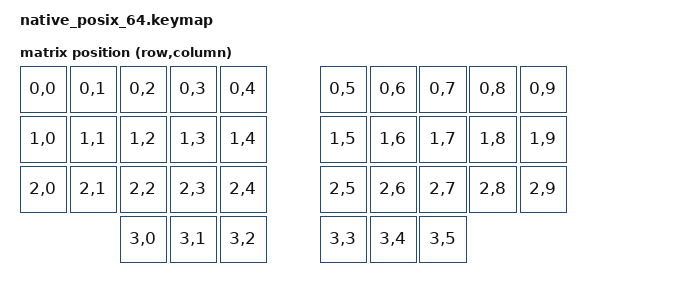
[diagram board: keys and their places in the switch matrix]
#include <dt-bindings/zmk/matrix_transform.h>
#include <dt-bindings/zmk/kscan_mock.h>

/ {
    chosen {
        zmk,matrix-transform = &transform;
    };

    /* op36 position N is RC(N/10, N%10); thumbs 30..35 are row 3. */
    transform: keymap_transform {
        compatible = "zmk,matrix-transform";
        columns = <10>;
        rows = <4>;
        map = <
            RC(0,0) RC(0,1) RC(0,2) RC(0,3) RC(0,4) RC(0,5) RC(0,6) RC(0,7) RC(0,8) RC(0,9)
            RC(1,0) RC(1,1) RC(1,2) RC(1,3) RC(1,4) RC(1,5) RC(1,6) RC(1,7) RC(1,8) RC(1,9)
            RC(2,0) RC(2,1) RC(2,2) RC(2,3) RC(2,4) RC(2,5) RC(2,6) RC(2,7) RC(2,8) RC(2,9)
            RC(3,0) RC(3,1) RC(3,2) RC(3,3) RC(3,4) RC(3,5)
        >;
    };
};&kscan {
    rows = <4>;
    columns = <10>;
    events = <
        /* lead-in so require-prior-idle-ms sees real idle time */
        ZMK_MOCK_PRESS(0,1,10)
        ZMK_MOCK_RELEASE(0,1,400)

        /* cmbru, a tap on thumbs 31+34, leaves en for ru */
        ZMK_MOCK_PRESS(3,1,5)
        ZMK_MOCK_PRESS(3,4,20)
        ZMK_MOCK_RELEASE(3,1,10)
        ZMK_MOCK_RELEASE(3,4,300)

        /* Right Cmd (pos 16) with pos 4. Pos 4 is on the LEFT half, so the
           opposite-hand rule wants the right modifier. It must resolve on en
           and send 0x05 (B) — the whole point — not 0x17 (T, which is where
           ЙЦУКЕН puts е). */
        ZMK_MOCK_PRESS(1,6,350)
        ZMK_MOCK_PRESS(0,4,30)
        ZMK_MOCK_RELEASE(0,4,30)
        ZMK_MOCK_RELEASE(1,6,300)

        /* Released, ru must be back: pos 1 is й, 0x14. */
        ZMK_MOCK_PRESS(0,1,30)
        ZMK_MOCK_RELEASE(0,1,300)

        /* Right Shift (pos 18) deliberately does NOT switch, so pos 1 stays
           й (0x14) and not W (0x1A). This is what keeps capital Cyrillic. */
        ZMK_MOCK_PRESS(1,8,350)
        ZMK_MOCK_PRESS(0,1,30)
        ZMK_MOCK_RELEASE(0,1,30)
        ZMK_MOCK_RELEASE(1,8,300)

        /* Right Alt (pos 19) switches too. */
        ZMK_MOCK_PRESS(1,9,350)
        ZMK_MOCK_PRESS(0,4,30)
        ZMK_MOCK_RELEASE(0,4,30)
        ZMK_MOCK_RELEASE(1,9,300)

        /* Left Hyper (pos 2) with pos 8: en gives Y (0x1C), ru would give
           з (0x13). */
        ZMK_MOCK_PRESS(0,2,350)
        ZMK_MOCK_PRESS(0,8,30)
        ZMK_MOCK_RELEASE(0,8,30)
        ZMK_MOCK_RELEASE(0,2,300)

        /* And ru survived all of it. */
        ZMK_MOCK_PRESS(0,1,30)
        ZMK_MOCK_RELEASE(0,1,200)
    >;
};

#include "/cfg/op36_ruen.keymap"
